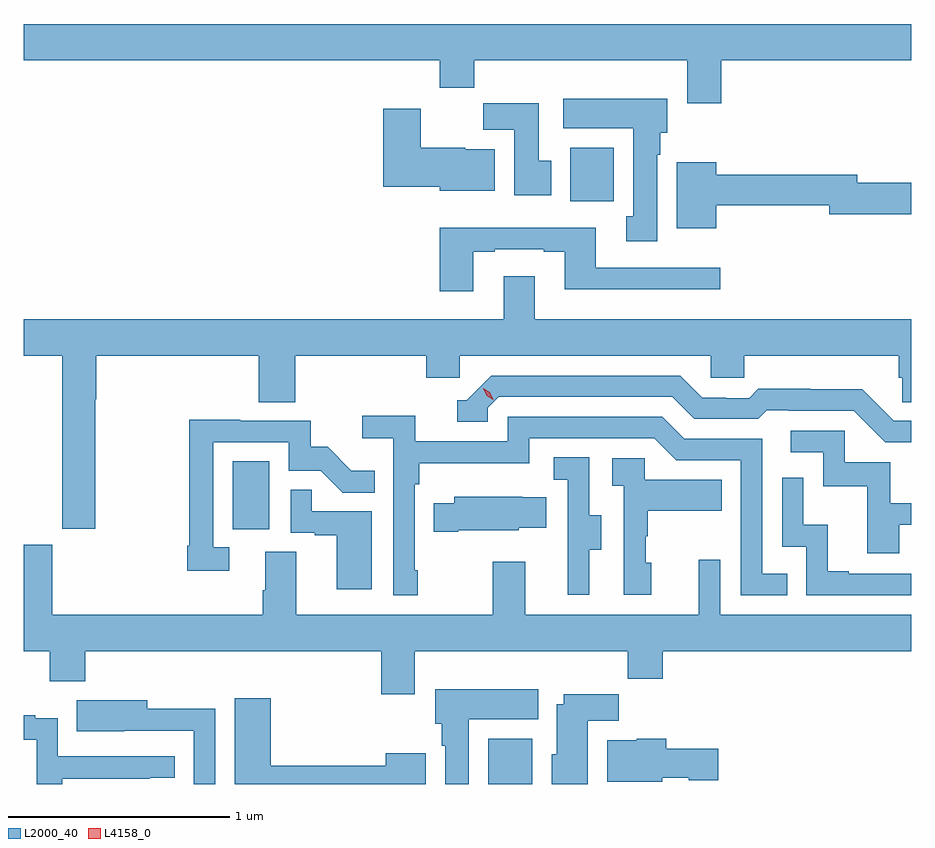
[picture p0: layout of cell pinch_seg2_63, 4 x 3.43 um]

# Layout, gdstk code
import gdstk
lib = gdstk.Library(unit=1e-6, precision=1e-09)
def R(c, l, rs):  # rectangles x0, y0, x1, y1
    for r in rs: c.add(gdstk.rectangle(r[:2], r[2:], *l))
def P(c, l, *ps):  # polygons
    for p in ps: c.add(gdstk.Polygon(p, *l))
L2000_40 = (2000, 40)
L4158_0 = (4158, 0)

pinch_seg2_63 = lib.new_cell('pinch_seg2_63')
R(pinch_seg2_63, L2000_40, [(1043.15,651.034,1043.347,651.238), (1041.998,652.182,1042.162,652.489), (1043.519,653.66,1043.716,653.902)])
P(pinch_seg2_63, L2000_40, [(1044.2,654.296),(1045.056,654.296),(1045.056,654.46),(1041.056,654.46),(1041.056,654.296),(1042.93,654.296),(1042.93,654.172),(1043.087,654.172),(1043.087,654.296),(1044.047,654.296),(1044.047,654.102),(1044.2,654.102)],
  [(1043.911,653.87),(1043.926,653.87),(1043.926,653.97),(1043.956,653.97),(1043.956,654.124),(1043.487,654.124),(1043.487,653.99),(1043.804,653.99),(1043.804,653.594),(1043.771,653.594),(1043.771,653.481),(1043.911,653.481)],
  [(1043.434,653.844),(1043.377,653.844),(1043.377,654.103),(1043.128,654.103),(1043.128,653.984),(1043.267,653.984),(1043.267,653.688),(1043.434,653.688)],
  [(1043.179,653.896),(1043.046,653.896),(1043.046,653.902),(1042.846,653.902),(1042.846,654.079),(1042.676,654.079),(1042.676,653.726),(1042.932,653.726),(1042.932,653.708),(1043.179,653.708)],
  [(1044.178,653.644),(1044.686,653.644),(1044.686,653.602),(1045.056,653.602),(1045.056,653.744),(1044.814,653.744),(1044.814,653.78),(1044.178,653.78),(1044.178,653.836),(1043.999,653.836),(1043.999,653.54),(1044.178,653.54)],
  [(1043.083,653.433),(1043.179,653.433),(1043.179,653.445),(1043.399,653.445),(1043.399,653.433),(1043.495,653.433),(1043.495,653.264),(1044.196,653.264),(1044.196,653.361),(1043.635,653.361),(1043.635,653.542),(1042.93,653.542),(1042.93,653.256),(1043.083,653.256)],
  [(1041.056,652.964),(1041.23,652.964),(1041.23,652.185),(1041.378,652.185),(1041.378,652.768),(1041.382,652.768),(1041.382,652.964),(1042.115,652.964),(1042.115,652.756),(1042.28,652.756),(1042.28,652.964),(1042.871,652.964),(1042.871,652.866),(1043.022,652.866),(1043.022,652.964),(1044.153,652.964),(1044.153,652.866),(1044.303,652.866),(1044.303,652.964),(1045.001,652.964),(1045.001,652.866),(1045.015,652.866),(1045.015,652.756),(1045.056,652.756),(1045.056,653.128),(1043.359,653.128),(1043.359,653.323),(1043.219,653.323),(1043.219,653.128),(1041.056,653.128)],
  [(1045.056,652.671),(1044.978,652.671),(1044.836,652.813),(1044.6,652.813),(1044.6,652.816),(1044.367,652.816),(1044.325,652.773),(1044.222,652.773),(1044.222,652.776),(1044.115,652.776),(1044.016,652.875),(1043.163,652.875),(1043.052,652.764),(1043.009,652.764),(1043.009,652.668),(1043.148,652.668),(1043.148,652.731),(1043.196,652.779),(1043.979,652.779),(1044.078,652.68),(1044.367,652.68),(1044.406,652.719),(1044.505,652.719),(1044.505,652.716),(1044.798,652.716),(1044.939,652.575),(1045.056,652.575)],
  [(1042.831,651.997),(1042.818,651.997),(1042.818,652.385),(1042.838,652.385),(1042.838,652.481),(1043.334,652.481),(1043.334,652.593),(1043.898,652.593),(1043.997,652.494),(1044.288,652.494),(1044.288,651.885),(1044.497,651.885),(1044.497,651.981),(1044.384,651.981),(1044.384,652.59),(1044.034,652.59),(1043.935,652.689),(1043.238,652.689),(1043.238,652.578),(1042.82,652.578),(1042.82,652.694),(1042.581,652.694),(1042.581,652.592),(1042.722,652.592),(1042.722,651.885),(1042.831,651.885)],
  [(1041.982,652.101),(1041.909,652.101),(1041.909,652.575),(1042.251,652.575),(1042.251,652.446),(1042.395,652.446),(1042.493,652.348),(1042.637,652.348),(1042.637,652.447),(1042.533,652.447),(1042.426,652.554),(1042.35,652.554),(1042.35,652.671),(1042.031,652.671),(1042.031,652.676),(1041.801,652.676),(1041.801,652.108),(1041.793,652.108),(1041.793,651.996),(1041.982,651.996)],
  [(1045.003,652.203),(1045.056,652.203),(1045.056,652.299),(1044.961,652.299),(1044.961,652.485),(1044.756,652.485),(1044.756,652.626),(1044.513,652.626),(1044.513,652.53),(1044.66,652.53),(1044.66,652.377),(1044.859,652.377),(1044.859,652.074),(1045.003,652.074)],
  [(1043.605,652.09),(1043.659,652.09),(1043.659,652.245),(1043.604,652.245),(1043.604,652.508),(1043.445,652.508),(1043.445,652.405),(1043.508,652.405),(1043.508,652.101),(1043.507,652.101),(1043.507,651.888),(1043.605,651.888)],
  [(1043.884,652.032),(1043.859,652.032),(1043.859,652.151),(1043.869,652.151),(1043.869,652.265),(1044.203,652.265),(1044.203,652.405),(1043.856,652.405),(1043.856,652.503),(1043.709,652.503),(1043.709,652.379),(1043.76,652.379),(1043.76,651.888),(1043.884,651.888)],
  [(1045.056,651.981),(1044.775,651.981),(1044.775,651.994),(1044.68,651.994),(1044.68,652.202),(1044.57,652.202),(1044.57,652.414),(1044.474,652.414),(1044.474,652.104),(1044.582,652.104),(1044.582,651.885),(1045.056,651.885)],
  [(1042.624,652.263),(1042.355,652.263),(1042.355,652.361),(1042.26,652.361),(1042.26,652.167),(1042.367,652.167),(1042.367,652.155),(1042.466,652.155),(1042.466,651.912),(1042.624,651.912)],
  [(1043.014,652.178),(1043.286,652.178),(1043.286,652.19),(1043.411,652.19),(1043.411,652.327),(1043.303,652.327),(1043.303,652.33),(1042.997,652.33),(1042.997,652.3),(1042.903,652.3),(1042.903,652.171),(1043.014,652.171)],
  [(1041.056,652.113),(1041.056,651.632),(1041.172,651.632),(1041.172,651.497),(1041.332,651.497),(1041.332,651.632),(1042.667,651.632),(1042.667,651.438),(1042.819,651.438),(1042.819,651.632),(1043.779,651.632),(1043.779,651.508),(1043.936,651.508),(1043.936,651.632),(1045.056,651.632),(1045.056,651.796),(1044.195,651.796),(1044.195,652.045),(1044.098,652.045),(1044.098,651.796),(1043.317,651.796),(1043.317,652.036),(1043.17,652.036),(1043.17,651.796),(1042.285,651.796),(1042.285,652.082),(1042.145,652.082),(1042.145,651.908),(1042.132,651.908),(1042.132,651.796),(1041.184,651.796),(1041.184,652.113)],
  [(1043.062,651.326),(1043.374,651.326),(1043.374,651.46),(1042.91,651.46),(1042.91,651.306),(1042.94,651.306),(1042.94,651.206),(1042.955,651.206),(1042.955,651.034),(1043.062,651.034)],
  [(1043.599,651.32),(1043.738,651.32),(1043.738,651.439),(1043.489,651.439),(1043.489,651.394),(1043.459,651.394),(1043.459,651.168),(1043.435,651.168),(1043.435,651.034),(1043.599,651.034)],
  [(1042.867,651.172),(1042.688,651.172),(1042.688,651.116),(1042.168,651.116),(1042.168,651.421),(1042.007,651.421),(1042.007,651.034),(1042.867,651.034)],
  [(1041.918,651.374),(1041.613,651.374),(1041.613,651.412),(1041.295,651.412),(1041.295,651.272),(1041.509,651.272),(1041.509,651.273),(1041.822,651.273),(1041.822,651.034),(1041.918,651.034)],
  [(1041.23,651.058),(1041.623,651.058),(1041.623,651.063),(1041.736,651.063),(1041.736,651.159),(1041.21,651.159),(1041.21,651.331),(1041.107,651.331),(1041.107,651.343),(1041.056,651.343),(1041.056,651.234),(1041.114,651.234),(1041.114,651.034),(1041.23,651.034)],
  [(1043.934,651.062),(1044.054,651.062),(1044.054,651.05),(1044.187,651.05),(1044.187,651.192),(1043.951,651.192),(1043.951,651.238),(1043.82,651.238),(1043.82,651.232),(1043.687,651.232),(1043.687,651.044),(1043.934,651.044)])
P(pinch_seg2_63, L4158_0, [(1043.173,652.766),(1043.142,652.785),(1043.126,652.818),(1043.126,652.818),(1043.127,652.818),(1043.157,652.799),(1043.173,652.766),(1043.173,652.766)])

lib.write_gds('pinch_seg2_63.gds')
